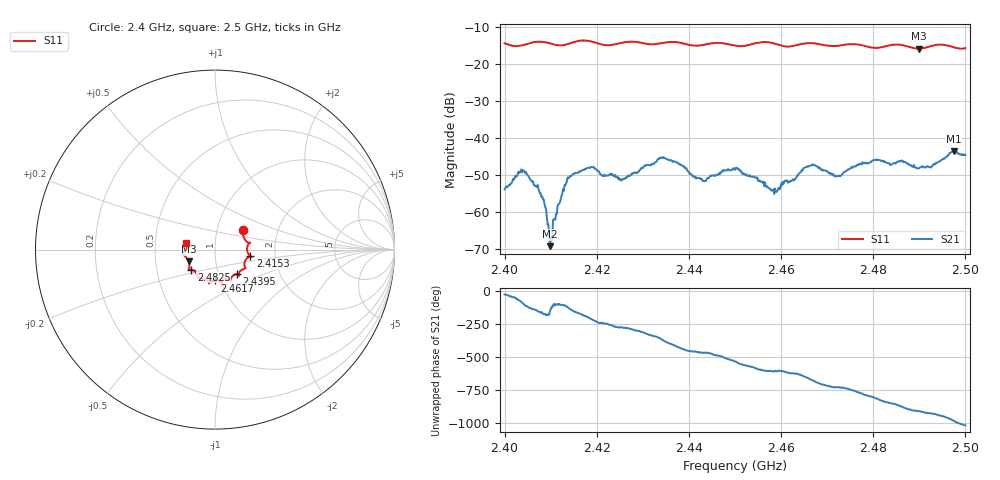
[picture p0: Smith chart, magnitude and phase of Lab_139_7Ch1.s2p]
# Hz S RI R 50
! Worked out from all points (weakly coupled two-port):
!   601 points, 2.4 GHz to 2.5 GHz, reference 50 ohm
!   highest |S21| = -43.65 dB at 2.4975 GHz (marker M1); lowest = -69.3 dB at 2.4098 GHz (marker M2)
!   lowest |S11| = -15.9 dB at 2.4898 GHz (marker M3), VSWR 1.38, Z = 36.9 - j4.92 ohm
!   |S11| at or under -10 dB: start of sweep to end of sweep
!   S12 and S22 are empty: the file has one direction only
!   S11 on the Smith chart (normalised r, x): 2.4 GHz: 1.33, +0.30; 2.4153 GHz: 1.48, -0.11; 2.4395 GHz: 1.22, -0.35; 2.4617 GHz: 0.94, -0.33; 2.4825 GHz: 0.75, -0.17; 2.5 GHz: 0.72, +0.05
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2.4e9  0.1565 0.1089  0.00182 -0.000843  0 0  0 0
2.4045e9  0.1786 0.0425  -0.000946 -0.00317  0 0  0 0
2.408333e9  0.1952 0.0383  -0.00143 -0.000291  0 0  0 0
2.409833e9  0.1873 0.0311  -0.000302 -0.000161  0 0  0 0
2.413167e9  0.1814 -0.0137  -0.000807 -0.00213  0 0  0 0
2.415333e9  0.1968 -0.0371  -0.00309 -0.0014  0 0  0 0
2.416667e9  0.2034 -0.0415  -0.00358 -0.000288  0 0  0 0
2.419167e9  0.1951 -0.04  -0.00318 0.00247  0 0  0 0
2.4255e9  0.1674 -0.0985  0.000229 0.00274  0 0  0 0
2.433333e9  0.133 -0.1333  0.00516 0.000741  0 0  0 0
2.4395e9  0.1228 -0.138  -2.71e-06 -0.00383  0 0  0 0
2.443333e9  0.0893 -0.1589  -0.000824 -0.00245  0 0  0 0
2.45e9  0.0665 -0.1643  -0.00367 -0.000418  0 0  0 0
2.4585e9  0.0354 -0.1859  -0.000566 0.00164  0 0  0 0
2.461667e9  0.000497 -0.172  -0.000282 0.00254  0 0  0 0
2.466667e9  -0.0339 -0.1885  0.00299 0.00299  0 0  0 0
2.472333e9  -0.0713 -0.1612  0.00301 -0.00058  0 0  0 0
2.4825e9  -0.132 -0.1112  -0.00234 -0.00418  0 0  0 0
2.483333e9  -0.1395 -0.1104  -0.00283 -0.00352  0 0  0 0
2.489833e9  -0.1474 -0.0649  -0.0038 0.000694  0 0  0 0
2.4975e9  -0.1682 -0.0045  -0.00037 0.00656  0 0  0 0
2.5e9  -0.1598 0.0349  0.00304 0.00501  0 0  0 0
